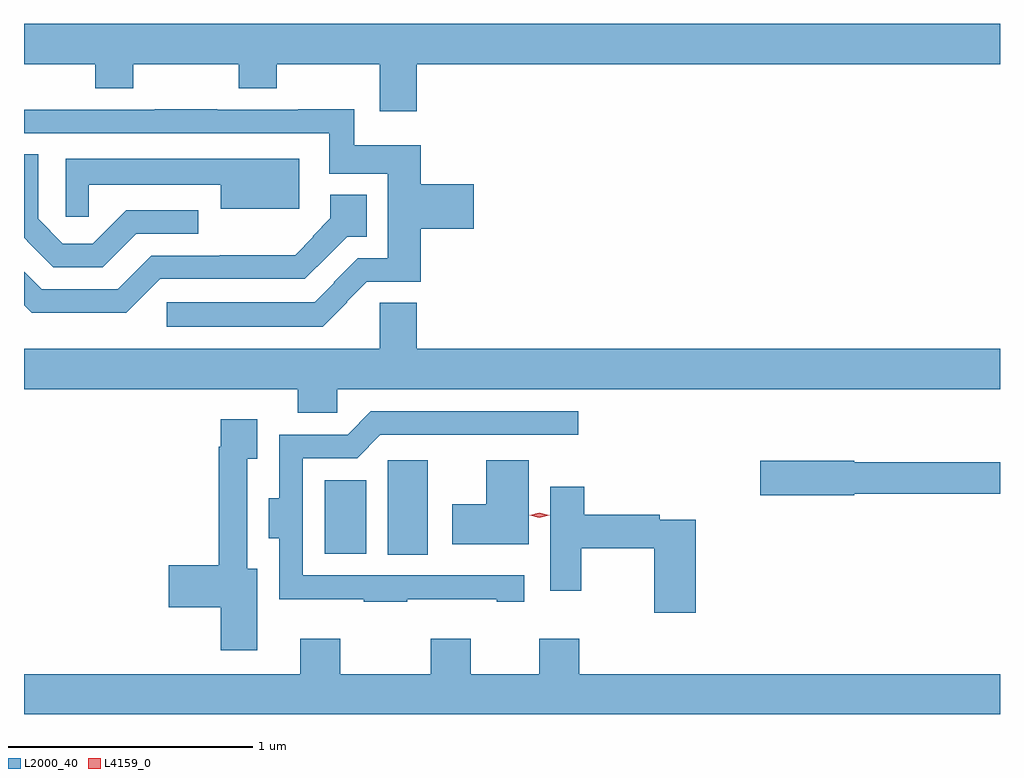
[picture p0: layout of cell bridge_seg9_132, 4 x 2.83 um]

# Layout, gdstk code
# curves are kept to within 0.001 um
import gdstk
lib = gdstk.Library(unit=1e-6, precision=1e-09)
def R(c, l, rs):  # rectangles x0, y0, x1, y1
    for r in rs: c.add(gdstk.rectangle(r[:2], r[2:], *l))
def P(c, l, *ps):  # polygons
    for p in ps: c.add(gdstk.Polygon(p, *l))
L2000_40 = (2000, 40)
L4159_0 = (4159, 0)

bridge_seg9_132 = lib.new_cell('bridge_seg9_132')
R(bridge_seg9_132, L2000_40, [(493.256,1215.721,493.42,1216.108), (492.998,1215.725,493.168,1216.027)])
P(bridge_seg9_132, L2000_40, [(493.376,1217.732),(495.766,1217.732),(495.766,1217.896),(491.766,1217.896),(491.766,1217.732),(492.058,1217.732),(492.058,1217.633),(492.213,1217.633),(492.213,1217.732),(492.646,1217.732),(492.646,1217.633),(492.801,1217.633),(492.801,1217.732),(493.223,1217.732),(493.223,1217.538),(493.376,1217.538)],
  [(493.091,1216.756),(493.089,1216.758),(493.17,1216.839),(493.391,1216.839),(493.391,1217.057),(493.609,1217.057),(493.609,1217.24),(493.391,1217.24),(493.391,1217.398),(493.12,1217.398),(493.12,1217.546),(492.889,1217.546),(492.889,1217.544),(492.557,1217.544),(492.557,1217.546),(492.301,1217.546),(492.301,1217.544),(491.766,1217.544),(491.766,1217.448),(493.016,1217.448),(493.016,1217.282),(493.256,1217.282),(493.256,1216.935),(493.133,1216.935),(493.036,1216.838),(493.038,1216.836),(492.957,1216.755),(492.351,1216.755),(492.351,1216.655),(492.99,1216.655)],
  [(492.226,1217.037),(492.481,1217.037),(492.481,1217.133),(492.186,1217.133),(492.048,1216.995),(491.925,1216.995),(491.824,1217.097),(491.824,1217.363),(491.766,1217.363),(491.766,1217.019),(491.885,1216.899),(492.088,1216.899)],
  [(492.032,1217.237),(492.572,1217.237),(492.572,1217.138),(492.894,1217.138),(492.894,1217.344),(491.938,1217.344),(491.938,1217.106),(492.032,1217.106)],
  [(492.324,1216.851),(492.916,1216.851),(493.091,1217.024),(493.171,1217.024),(493.171,1217.197),(493.022,1217.197),(493.022,1217.099),(492.949,1217.026),(492.952,1217.023),(492.878,1216.949),(492.568,1216.949),(492.568,1216.947),(492.288,1216.947),(492.15,1216.809),(491.838,1216.809),(491.766,1216.881),(491.766,1216.743),(491.797,1216.712),(492.185,1216.712)],
  [(493.05,1216.4),(495.766,1216.4),(495.766,1216.564),(493.376,1216.564),(493.376,1216.754),(493.224,1216.754),(493.224,1216.564),(491.766,1216.564),(491.766,1216.4),(492.887,1216.4),(492.887,1216.302),(493.05,1216.302)],
  [(493.337,1215.539),(493.703,1215.539),(493.703,1215.528),(493.816,1215.528),(493.816,1215.636),(492.909,1215.636),(492.909,1216.116),(493.131,1216.116),(493.227,1216.212),(494.038,1216.212),(494.038,1216.308),(493.188,1216.308),(493.092,1216.212),(492.812,1216.212),(492.812,1215.952),(492.77,1215.952),(492.77,1215.788),(492.813,1215.788),(492.813,1215.539),(493.159,1215.539),(493.159,1215.528),(493.337,1215.528)],
  [(492.721,1215.664),(492.681,1215.664),(492.681,1216.115),(492.721,1216.115),(492.721,1216.276),(492.573,1216.276),(492.573,1216.163),(492.565,1216.163),(492.565,1215.677),(492.36,1215.677),(492.36,1215.506),(492.572,1215.506),(492.572,1215.33),(492.721,1215.33)],
  [(493.834,1216.108),(493.661,1216.108),(493.661,1215.928),(493.521,1215.928),(493.521,1215.764),(493.834,1215.764)],
  [(495.168,1215.97),(495.766,1215.97),(495.766,1216.099),(495.168,1216.099),(495.168,1216.107),(494.784,1216.107),(494.784,1215.965),(495.168,1215.965)],
  [(494.519,1215.864),(494.372,1215.864),(494.372,1215.884),(494.063,1215.884),(494.063,1216),(493.922,1216),(493.922,1215.573),(494.05,1215.573),(494.05,1215.748),(494.348,1215.748),(494.348,1215.483),(494.519,1215.483)],
  [(495.766,1215.232),(494.041,1215.232),(494.041,1215.376),(493.877,1215.376),(493.877,1215.232),(493.597,1215.232),(493.597,1215.376),(493.433,1215.376),(493.433,1215.232),(493.063,1215.232),(493.063,1215.376),(492.899,1215.376),(492.899,1215.232),(491.766,1215.232),(491.766,1215.068),(495.766,1215.068)])
P(bridge_seg9_132, L4159_0, [(493.878,1215.873),(493.838,1215.883),(493.838,1215.883),(493.838,1215.883),(493.878,1215.893),(493.918,1215.883),(493.918,1215.883),(493.918,1215.883)])

lib.write_gds('bridge_seg9_132.gds')
